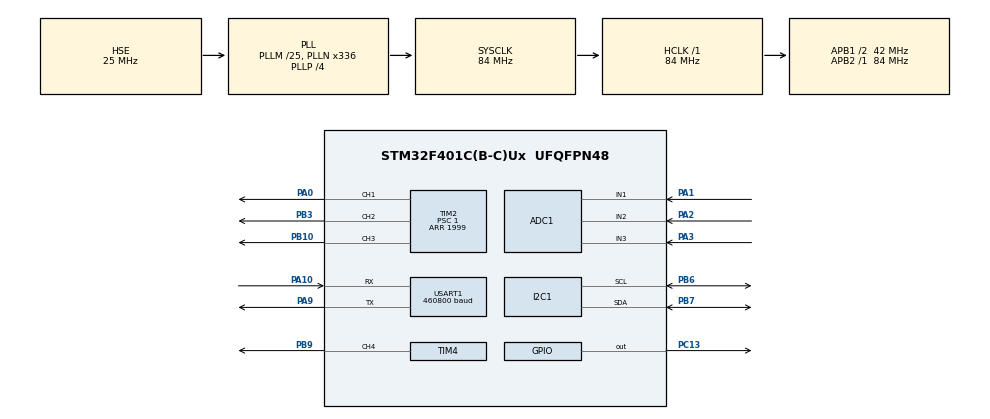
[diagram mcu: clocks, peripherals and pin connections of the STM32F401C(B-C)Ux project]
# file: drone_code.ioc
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ADC1.Channel-0\#ChannelRegularConversion=ADC_CHANNEL_1
ADC1.Channel-1\#ChannelRegularConversion=ADC_CHANNEL_2
ADC1.Channel-2\#ChannelRegularConversion=ADC_CHANNEL_3
ADC1.ContinuousConvMode=ENABLE
ADC1.DMAContinuousRequests=ENABLE
ADC1.NbrOfConversion=3
ADC1.NbrOfConversionFlag=1
ADC1.Rank-0\#ChannelRegularConversion=1
ADC1.Rank-1\#ChannelRegularConversion=2
ADC1.Rank-2\#ChannelRegularConversion=3
ADC1.SamplingTime-0\#ChannelRegularConversion=ADC_SAMPLETIME_480CYCLES
ADC1.SamplingTime-1\#ChannelRegularConversion=ADC_SAMPLETIME_480CYCLES
ADC1.SamplingTime-2\#ChannelRegularConversion=ADC_SAMPLETIME_480CYCLES
ADC1.ScanConvMode=ENABLE
ADC1.master=1
Dma.ADC1.0.Direction=DMA_PERIPH_TO_MEMORY
Dma.ADC1.0.FIFOMode=DMA_FIFOMODE_DISABLE
Dma.ADC1.0.Instance=DMA2_Stream0
Dma.ADC1.0.MemDataAlignment=DMA_MDATAALIGN_WORD
Dma.ADC1.0.MemInc=DMA_MINC_ENABLE
Dma.ADC1.0.Mode=DMA_CIRCULAR
Dma.ADC1.0.PeriphDataAlignment=DMA_PDATAALIGN_WORD
Dma.ADC1.0.PeriphInc=DMA_PINC_DISABLE
Dma.ADC1.0.Priority=DMA_PRIORITY_HIGH
Dma.Request0=ADC1
I2C1.I2C_Mode=I2C_Fast
Mcu.Family=STM32F4
Mcu.Name=STM32F401C(B-C)Ux
Mcu.Package=UFQFPN48
NVIC.ADC_IRQn=true\:1\:0\:true\:false\:true\:true\:true\:true
NVIC.DMA2_Stream0_IRQn=true\:0\:0\:false\:false\:true\:false\:true\:true
NVIC.PriorityGroup=NVIC_PRIORITYGROUP_4
PA0-WKUP.Signal=S_TIM2_CH1_ETR
PA1.Signal=ADCx_IN1
PA10.Mode=Asynchronous
PA10.Signal=USART1_RX
PA2.Signal=ADCx_IN2
PA3.Signal=ADCx_IN3
PA9.Mode=Asynchronous
PA9.Signal=USART1_TX
PB10.Signal=S_TIM2_CH3
PB3.Signal=S_TIM2_CH2
PB6.Mode=I2C
PB6.Signal=I2C1_SCL
PB7.Mode=I2C
PB7.Signal=I2C1_SDA
PB9.Signal=S_TIM4_CH4
PC13-ANTI_TAMP.Signal=GPIO_Output
PH0\ -\ OSC_IN.Mode=HSE-External-Oscillator
PH0\ -\ OSC_IN.Signal=RCC_OSC_IN
PH1\ -\ OSC_OUT.Mode=HSE-External-Oscillator
PH1\ -\ OSC_OUT.Signal=RCC_OSC_OUT
ProjectManager.HeapSize=0x200
ProjectManager.StackSize=0x400
ProjectManager.TargetToolchain=STM32CubeIDE
RCC.48MHZClocksFreq_Value=84000000
RCC.AHBFreq_Value=84000000
RCC.APB1CLKDivider=RCC_HCLK_DIV2
RCC.APB1Freq_Value=42000000
RCC.APB1TimFreq_Value=84000000
RCC.APB2Freq_Value=84000000
RCC.APB2TimFreq_Value=84000000
RCC.CortexFreq_Value=84000000
RCC.HCLKFreq_Value=84000000
RCC.HSE_VALUE=25000000
RCC.HSI_VALUE=16000000
RCC.LSE_VALUE=32768
RCC.PLLM=25
RCC.PLLN=336
RCC.PLLP=RCC_PLLP_DIV4
RCC.PLLSourceVirtual=RCC_PLLSOURCE_HSE
RCC.SYSCLKFreq_VALUE=84000000
RCC.SYSCLKSource=RCC_SYSCLKSOURCE_PLLCLK
RCC.VCOOutputFreq_Value=336000000
SH.ADCx_IN1.0=ADC1_IN1,IN1
SH.ADCx_IN2.0=ADC1_IN2,IN2
SH.ADCx_IN3.0=ADC1_IN3,IN3
SH.S_TIM2_CH1_ETR.0=TIM2_CH1,PWM Generation1 CH1
SH.S_TIM2_CH2.0=TIM2_CH2,PWM Generation2 CH2
SH.S_TIM2_CH3.0=TIM2_CH3,PWM Generation3 CH3
SH.S_TIM4_CH4.0=TIM4_CH4,PWM Generation4 CH4
TIM2.AutoReloadPreload=TIM_AUTORELOAD_PRELOAD_ENABLE
TIM2.Channel-PWM\ Generation1\ CH1=TIM_CHANNEL_1
TIM2.Channel-PWM\ Generation2\ CH2=TIM_CHANNEL_2
TIM2.Channel-PWM\ Generation3\ CH3=TIM_CHANNEL_3
TIM2.Period=1999
TIM2.Prescaler=1
TIM4.Channel-PWM\ Generation4\ CH4=TIM_CHANNEL_4
TIM4.Period=1999
USART1.BaudRate=460800
USART1.VirtualMode=VM_ASYNC
VP_TIM2_VS_ClockSourceINT.Mode=Internal
VP_TIM4_VS_ClockSourceINT.Mode=Internal
board=custom

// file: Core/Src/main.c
/* USER CODE BEGIN Header */
/**
  ******************************************************************************
  * @file           : main.c
  * @brief          : Main program body
  ******************************************************************************
  * @attention
  *
  * Copyright (c) 2025 STMicroelectronics.
  * All rights reserved.
  *
  * This software is licensed under terms that can be found in the LICENSE file
  * in the root directory of this software component.
  * If no LICENSE file comes with this software, it is provided AS-IS.
  *
  ******************************************************************************
  */
/* USER CODE END Header */
#include "main.h"
#include "adc.h"
#include "dma.h"
#include "i2c.h"
#include "tim.h"
#include "usart.h"
#include "gpio.h"

/* USER CODE BEGIN Includes */
#include "imu.h"
#include "telemetry.h"
#include "timebase.h"
/* USER CODE END Includes */

/* USER CODE BEGIN PD */

/* Control loop rate. The MPU9250 is configured for a 1 kHz internal sample
 * rate, so this can be raised well beyond 100 Hz once there is a PID loop
 * worth running faster -- check Telemetry_Dropped() afterwards to confirm the
 * link is still keeping up. */
#define LOOP_RATE_HZ    100u
#define LOOP_PERIOD_US  (1000000u / LOOP_RATE_HZ)

/* USER CODE END PD */

/* USER CODE BEGIN PV */
uint16_t ccrval;
int16_t xval;
int16_t yval;
uint32_t vals[3];
MPU9250_Data imu;
/* USER CODE END PV */

void SystemClock_Config(void);

/* USER CODE BEGIN 0 */

static void report_imu_status(IMU_Status status)
{
	switch (status) {
	case IMU_OK:
		Telemetry_Print("# imu ok\n");
		break;
	case IMU_ERR_WHOAMI:
		Telemetry_Print("# imu error: WHO_AM_I mismatch, not an MPU9250\n");
		break;
	case IMU_ERR_MAG_WHOAMI:
		Telemetry_Print("# imu error: AK8963 not responding; check I2C bypass\n");
		break;
	case IMU_ERR_I2C:
	default:
		Telemetry_Print("# imu error: I2C transfer failed; check wiring and pull-ups\n");
		break;
	}
}

/* USER CODE END 0 */

int main(void)
{

  /* MCU Configuration--------------------------------------------------------*/

  /* Reset of all peripherals, Initializes the Flash interface and the Systick. */
  HAL_Init();

  /* Configure the system clock */
  SystemClock_Config();

  /* Initialize all configured peripherals */
  MX_GPIO_Init();
  MX_DMA_Init();
  MX_I2C1_Init();
  MX_TIM2_Init();
  MX_TIM4_Init();
  MX_ADC1_Init();
  MX_USART1_UART_Init();
  /* USER CODE BEGIN 2 */
  //LED/MOTOR timers
  HAL_TIM_PWM_Start(&htim2, TIM_CHANNEL_1);
  HAL_TIM_PWM_Start(&htim2, TIM_CHANNEL_3);
  HAL_TIM_PWM_Start(&htim4, TIM_CHANNEL_4);
  HAL_TIM_PWM_Start(&htim2, TIM_CHANNEL_2);

  //reading pot & joystick vals
  HAL_ADC_Start_DMA(&hadc1, (uint32_t*)vals, 3);

  if (Timebase_Init() != HAL_OK)
  {
    Error_Handler();
  }
  if (Telemetry_Init(&huart1) != HAL_OK)
  {
    Error_Handler();
  }

  Telemetry_Print("# drone_code boot\n");
  Telemetry_Print("# I,t_us,ax,ay,az,gx,gy,gz,mx,my,mz,flags  (m/s^2, deg/s, uT)\n");

  IMU_Status imu_status = IMU_Init(&hi2c1, &imu);
  report_imu_status(imu_status);

  if (imu_status == IMU_OK)
  {
    Telemetry_Print("# calibrating gyro, hold still\n");
    Telemetry_Service();
    if (IMU_CalibrateGyro(&hi2c1, &imu) == IMU_OK)
    {
      Telemetry_Print("# gyro calibrated\n");
    }
    else
    {
      Telemetry_Print("# gyro calibration failed; bias left at zero\n");
    }
  }

  /* USER CODE END 2 */

  /* Infinite loop */
  /* USER CODE BEGIN WHILE */

  /* Scheduling runs off the 1 MHz TIM5 counter rather than HAL_GetTick(),
   * whose 1 ms resolution is the same order as the loop period itself.
   * Timestamps are taken from the same counter and shipped with each sample,
   * so the host can see the real interval instead of assuming a nominal one.
   *
   * All the comparisons below are signed differences, which stay correct
   * across the counter's 32-bit wrap (about every 71 minutes). */
  uint32_t next_us = Timebase_Micros() + LOOP_PERIOD_US;

  while (1)
  {
      uint32_t now_us = Timebase_Micros();

      if ((int32_t)(now_us - next_us) < 0)
      {
          /* Time left over: keep the telemetry link fed and wait. */
          Telemetry_Service();
          continue;
      }

      uint8_t loop_flags = 0u;

      /* More than a full period late means the previous iteration overran.
       * Report it and resynchronize rather than trying to catch up, which
       * would run several iterations back to back with a meaningless dt. */
      if ((int32_t)(now_us - next_us) > (int32_t)LOOP_PERIOD_US)
      {
          loop_flags |= TLM_FLAG_LOOP_OVERRUN;
          next_us = now_us + LOOP_PERIOD_US;
      }
      else
      {
          next_us += LOOP_PERIOD_US;
      }

      IMU_ReadAll(&hi2c1, &imu);

      /* Every sample goes out, not every tenth: the write is a memcpy into a
       * ring buffer and DMA does the rest, so this no longer costs the loop
       * anything measurable. */
      Telemetry_SendImu(now_us, &imu, loop_flags);
      Telemetry_Service();

    /* USER CODE END WHILE */

  }
}

void SystemClock_Config(void)
{
  RCC_OscInitTypeDef RCC_OscInitStruct = {0};
  RCC_ClkInitTypeDef RCC_ClkInitStruct = {0};

  /** Configure the main internal regulator output voltage
  */
  __HAL_RCC_PWR_CLK_ENABLE();
  __HAL_PWR_VOLTAGESCALING_CONFIG(PWR_REGULATOR_VOLTAGE_SCALE2);

  /** Initializes the RCC Oscillators according to the specified parameters
  * in the RCC_OscInitTypeDef structure.
  */
  RCC_OscInitStruct.OscillatorType = RCC_OSCILLATORTYPE_HSE;
  RCC_OscInitStruct.HSEState = RCC_HSE_ON;
  RCC_OscInitStruct.PLL.PLLState = RCC_PLL_ON;
  RCC_OscInitStruct.PLL.PLLSource = RCC_PLLSOURCE_HSE;
  RCC_OscInitStruct.PLL.PLLM = 25;
  RCC_OscInitStruct.PLL.PLLN = 336;
  RCC_OscInitStruct.PLL.PLLP = RCC_PLLP_DIV4;
  RCC_OscInitStruct.PLL.PLLQ = 4;
  if (HAL_RCC_OscConfig(&RCC_OscInitStruct) != HAL_OK)
  {
    Error_Handler();
  }

  /** Initializes the CPU, AHB and APB buses clocks
  */
  RCC_ClkInitStruct.ClockType = RCC_CLOCKTYPE_HCLK|RCC_CLOCKTYPE_SYSCLK
                              |RCC_CLOCKTYPE_PCLK1|RCC_CLOCKTYPE_PCLK2;
  RCC_ClkInitStruct.SYSCLKSource = RCC_SYSCLKSOURCE_PLLCLK;
  RCC_ClkInitStruct.AHBCLKDivider = RCC_SYSCLK_DIV1;
  RCC_ClkInitStruct.APB1CLKDivider = RCC_HCLK_DIV2;
  RCC_ClkInitStruct.APB2CLKDivider = RCC_HCLK_DIV1;

  if (HAL_RCC_ClockConfig(&RCC_ClkInitStruct, FLASH_LATENCY_2) != HAL_OK)
  {
    Error_Handler();
  }
}

void Error_Handler(void)
{
  __disable_irq();
  while (1)
  {
  }
}
